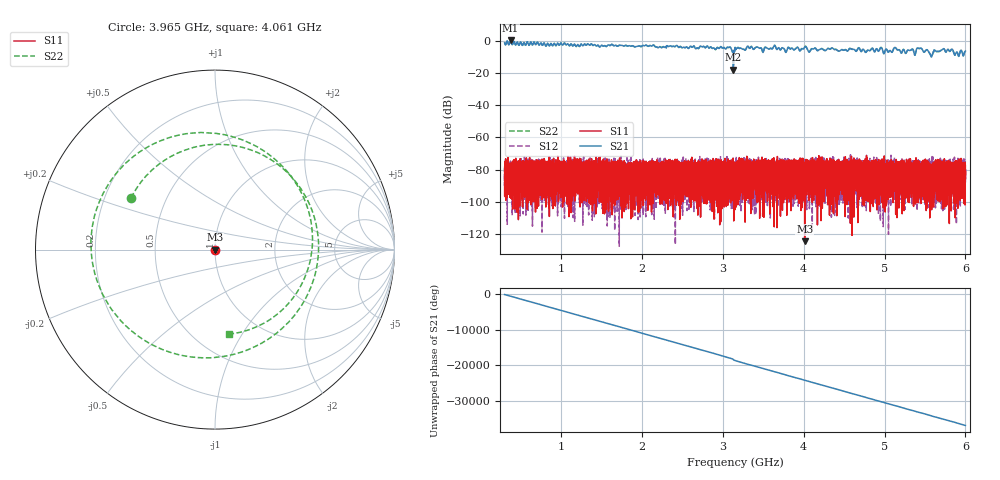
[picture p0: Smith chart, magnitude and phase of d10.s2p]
!Agilent Technologies,N5230C,SG49000117,A.08.50.07
!Agilent N5230C: A.08.50.07
!Date: Sunday, March 17, 2024 02:44:02
!Correction: S11(Off)
!S21(Off)
!S12(Off)
!S22(Off)
!S2P File: Measurements: S11, S21, S12, S22:
# Hz S  RI  R 50
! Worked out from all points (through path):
!   20001 points, 300 MHz to 6 GHz, reference 50 ohm
!   highest |S21| = 0.44 dB at 373.2 MHz (marker M1); lowest = -17.8 dB at 3.13 GHz (marker M2)
!   lowest |S11| = -124.9 dB at 4.012 GHz (marker M3), VSWR 1.00, Z = 50 - j5.31e-05 ohm
!   |S11| at or under -10 dB: start of sweep to end of sweep
!   |S22| runs from -17.8 to 0.5 dB; largest |S21 - S12| = 1.1
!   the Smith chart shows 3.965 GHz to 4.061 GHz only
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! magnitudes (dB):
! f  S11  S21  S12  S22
! 300 MHz  -78.8  -1.0  -83.9  -1.0
! 373.2 MHz  -78.9  0.4  -86.1  0.5
! 1.25 GHz  -82.4  -1.9  -88.5  -1.8
! 2.2 GHz  -76.8  -4.1  -81.0  -4.1
! 3.073 GHz  -76.4  -3.9  -86.8  -3.9
! 3.13 GHz  -90.1  -17.8  -82.3  -17.8
! 3.15 GHz  -83.4  -4.0  -80.9  -3.9
! 3.174 GHz  -74.9  -4.4  -78.5  -4.3
! 3.327 GHz  -78.8  -4.4  -86.8  -4.3
! 3.484 GHz  -86.5  -5.5  -76.7  -5.4
! 3.632 GHz  -90.8  -3.0  -89.8  -2.9
! 3.773 GHz  -78.5  -6.6  -78.1  -6.5
! 4.012 GHz  -124.9  -3.6  -81.3  -3.5
! 4.1 GHz  -86.7  -4.7  -80.4  -4.6
! 5.05 GHz  -88.1  -6.7  -96.4  -6.7
! 5.135 GHz  -78.8  -4.0  -89.8  -4.0
! 5.369 GHz  -80.9  -8.2  -79.9  -8.2
! 5.429 GHz  -82.6  -4.6  -89.2  -4.6
! 5.573 GHz  -80.8  -9.2  -85.9  -9.2
! 5.718 GHz  -88.5  -5.0  -77.9  -5.1
! 5.895 GHz  -74.7  -6.8  -89.1  -6.8
! 6 GHz  -77.6  -6.1  -88.8  -6.2
